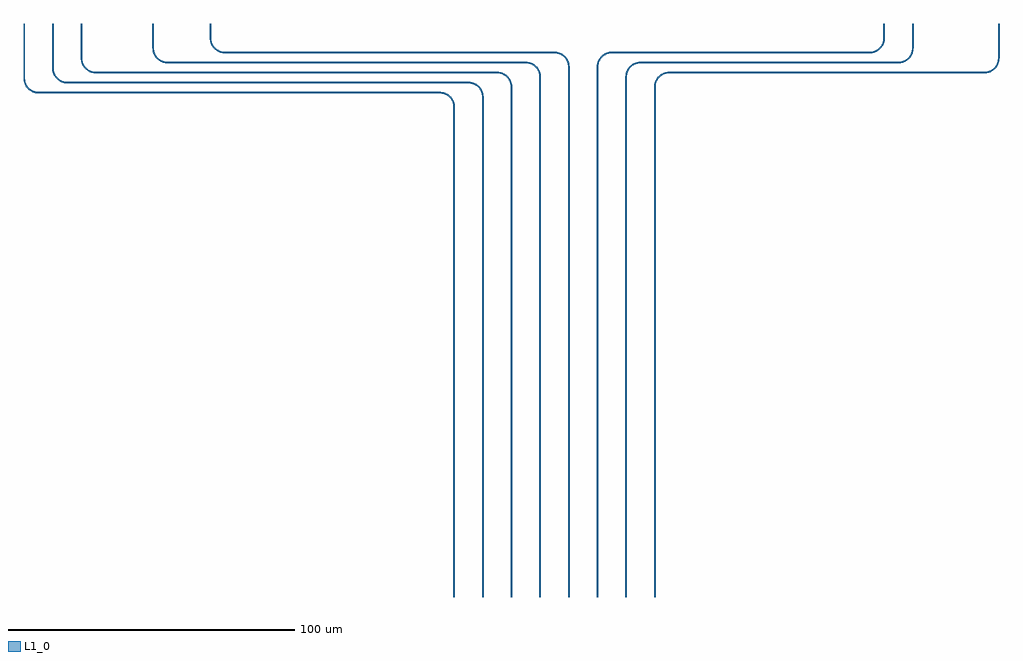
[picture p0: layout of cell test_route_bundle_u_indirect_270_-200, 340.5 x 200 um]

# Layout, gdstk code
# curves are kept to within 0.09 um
from math import pi, radians
import gdstk
lib = gdstk.Library(unit=1e-6, precision=1e-09)
def R(c, l, rs):  # rectangles x0, y0, x1, y1
    for r in rs: c.add(gdstk.rectangle(r[:2], r[2:], *l))
def P(c, l, *ps):  # polygons
    for p in ps: c.add(gdstk.Polygon(p, *l))
L1_0 = (1, 0)

bend_circular_gdsfactory = lib.new_cell('bend_circular_gdsfactorypcomponentspbendspbend_circular_0c9d0621')
P(bend_circular_gdsfactory, L1_0, [(0,-0.25),(0,0.25),(0.988,0.354),(1.932,0.661),(2.587,1.016),(3.359,1.641),(3.984,2.413),(4.339,3.068),(4.646,4.012),(4.75,5),(5.25,5),(5.135,3.908),(4.796,2.865),(4.247,1.914),(3.712,1.288),(3.086,0.753),(2.135,0.204),(1.092,-0.135)])

straight_gdsfactorypcomp = lib.new_cell('straight_gdsfactorypcomponentspwaveguidespstraight_L19__04b0d241')
R(straight_gdsfactorypcomp, L1_0, [(0,-0.25,19,0.25)])

c_straight_gdsfactorypcomp = lib.new_cell('straight_gdsfactorypcomponentspwaveguidespstraight_L140_d1a5e935')
R(c_straight_gdsfactorypcomp, L1_0, [(0,-0.25,140,0.25)])

c_straight_gdsfactorypcomp_ = lib.new_cell('straight_gdsfactorypcomponentspwaveguidespstraight_L171_7ff60cda')
R(c_straight_gdsfactorypcomp_, L1_0, [(0,-0.25,171,0.25)])

c_straight_gdsfactorypcomp__ = lib.new_cell('straight_gdsfactorypcomponentspwaveguidespstraight_L15p_a1f03c60')
R(c_straight_gdsfactorypcomp__, L1_0, [(0,-0.25,15.5,0.25)])

c_straight_gdsfactorypcomp___ = lib.new_cell('straight_gdsfactorypcomponentspwaveguidespstraight_L174_08ec315f')
R(c_straight_gdsfactorypcomp___, L1_0, [(0,-0.25,174.5,0.25)])

c_straight_gdsfactorypcomp____ = lib.new_cell('straight_gdsfactorypcomponentspwaveguidespstraight_L12__f3e780f9')
R(c_straight_gdsfactorypcomp____, L1_0, [(0,-0.25,12,0.25)])

c_straight_gdsfactorypcomp_____ = lib.new_cell('straight_gdsfactorypcomponentspwaveguidespstraight_L178_c123498b')
R(c_straight_gdsfactorypcomp_____, L1_0, [(0,-0.25,178,0.25)])

c_straight_gdsfactorypcomp______ = lib.new_cell('straight_gdsfactorypcomponentspwaveguidespstraight_L8p5_29adfe89')
R(c_straight_gdsfactorypcomp______, L1_0, [(0,-0.25,8.5,0.25)])

c_straight_gdsfactorypcomp_______ = lib.new_cell('straight_gdsfactorypcomponentspwaveguidespstraight_L125_ee2f1246')
R(c_straight_gdsfactorypcomp_______, L1_0, [(0,-0.25,125,0.25)])

c_straight_gdsfactorypcomp________ = lib.new_cell('straight_gdsfactorypcomponentspwaveguidespstraight_L181_3462eef6')
R(c_straight_gdsfactorypcomp________, L1_0, [(0,-0.25,181.5,0.25)])

c_straight_gdsfactorypcomp_________ = lib.new_cell('straight_gdsfactorypcomponentspwaveguidespstraight_L5_N_f5657628')
R(c_straight_gdsfactorypcomp_________, L1_0, [(0,-0.25,5,0.25)])

c_straight_gdsfactorypcomp__________ = lib.new_cell('straight_gdsfactorypcomponentspwaveguidespstraight_L115_c5585eed')
R(c_straight_gdsfactorypcomp__________, L1_0, [(0,-0.25,115,0.25)])

c_straight_gdsfactorypcomp___________ = lib.new_cell('straight_gdsfactorypcomponentspwaveguidespstraight_L185_0d204b83')
R(c_straight_gdsfactorypcomp___________, L1_0, [(0,-0.25,185,0.25)])

c_straight_gdsfactorypcomp____________ = lib.new_cell('straight_gdsfactorypcomponentspwaveguidespstraight_L90__0507d5f5')
R(c_straight_gdsfactorypcomp____________, L1_0, [(0,-0.25,90,0.25)])

c_straight_gdsfactorypcomp_____________ = lib.new_cell('straight_gdsfactorypcomponentspwaveguidespstraight_L110_85067713')
R(c_straight_gdsfactorypcomp_____________, L1_0, [(0,-0.25,110,0.25)])

test_route_bundle_u_indi = lib.new_cell('test_route_bundle_u_indirect_270_-200')
test_route_bundle_u_indi.add(gdstk.Reference(bend_circular_gdsfactory, (-95,-24), rotation=pi, x_reflection=True))
test_route_bundle_u_indi.add(gdstk.Reference(straight_gdsfactorypcomp, (-100,0), rotation=3*pi/2))
test_route_bundle_u_indi.add(gdstk.Reference(bend_circular_gdsfactory, (50,-29), rotation=pi/2))
test_route_bundle_u_indi.add(gdstk.Reference(c_straight_gdsfactorypcomp, (-95,-24)))
test_route_bundle_u_indi.add(gdstk.Reference(c_straight_gdsfactorypcomp_, (50,-29), rotation=3*pi/2))
test_route_bundle_u_indi.add(gdstk.Reference(bend_circular_gdsfactory, (-85,-20.5), rotation=pi, x_reflection=True))
test_route_bundle_u_indi.add(gdstk.Reference(c_straight_gdsfactorypcomp__, (-90,0), rotation=3*pi/2))
test_route_bundle_u_indi.add(gdstk.Reference(bend_circular_gdsfactory, (60,-25.5), rotation=pi/2))
test_route_bundle_u_indi.add(gdstk.Reference(c_straight_gdsfactorypcomp, (-85,-20.5)))
test_route_bundle_u_indi.add(gdstk.Reference(c_straight_gdsfactorypcomp___, (60,-25.5), rotation=3*pi/2))
test_route_bundle_u_indi.add(gdstk.Reference(bend_circular_gdsfactory, (-75,-17), rotation=pi, x_reflection=True))
test_route_bundle_u_indi.add(gdstk.Reference(c_straight_gdsfactorypcomp____, (-80,0), rotation=3*pi/2))
test_route_bundle_u_indi.add(gdstk.Reference(bend_circular_gdsfactory, (70,-22), rotation=pi/2))
test_route_bundle_u_indi.add(gdstk.Reference(c_straight_gdsfactorypcomp, (-75,-17)))
test_route_bundle_u_indi.add(gdstk.Reference(c_straight_gdsfactorypcomp_____, (70,-22), rotation=3*pi/2))
test_route_bundle_u_indi.add(gdstk.Reference(bend_circular_gdsfactory, (-50,-13.5), rotation=pi, x_reflection=True))
test_route_bundle_u_indi.add(gdstk.Reference(c_straight_gdsfactorypcomp______, (-55,0), rotation=3*pi/2))
test_route_bundle_u_indi.add(gdstk.Reference(bend_circular_gdsfactory, (80,-18.5), rotation=pi/2))
test_route_bundle_u_indi.add(gdstk.Reference(c_straight_gdsfactorypcomp_______, (-50,-13.5)))
test_route_bundle_u_indi.add(gdstk.Reference(c_straight_gdsfactorypcomp________, (80,-18.5), rotation=3*pi/2))
test_route_bundle_u_indi.add(gdstk.Reference(bend_circular_gdsfactory, (-30,-10), rotation=pi, x_reflection=True))
test_route_bundle_u_indi.add(gdstk.Reference(c_straight_gdsfactorypcomp_________, (-35,0), rotation=3*pi/2))
test_route_bundle_u_indi.add(gdstk.Reference(bend_circular_gdsfactory, (90,-15), rotation=pi/2))
test_route_bundle_u_indi.add(gdstk.Reference(c_straight_gdsfactorypcomp__________, (-30,-10)))
test_route_bundle_u_indi.add(gdstk.Reference(c_straight_gdsfactorypcomp___________, (90,-15), rotation=3*pi/2))
test_route_bundle_u_indi.add(gdstk.Reference(bend_circular_gdsfactory, (195,-10)))
test_route_bundle_u_indi.add(gdstk.Reference(c_straight_gdsfactorypcomp_________, (200,0), rotation=3*pi/2))
test_route_bundle_u_indi.add(gdstk.Reference(bend_circular_gdsfactory, (100,-15), rotation=pi/2, x_reflection=True))
test_route_bundle_u_indi.add(gdstk.Reference(c_straight_gdsfactorypcomp____________, (195,-10), rotation=pi))
test_route_bundle_u_indi.add(gdstk.Reference(c_straight_gdsfactorypcomp___________, (100,-15), rotation=3*pi/2))
test_route_bundle_u_indi.add(gdstk.Reference(bend_circular_gdsfactory, (205,-13.5)))
test_route_bundle_u_indi.add(gdstk.Reference(c_straight_gdsfactorypcomp______, (210,0), rotation=3*pi/2))
test_route_bundle_u_indi.add(gdstk.Reference(bend_circular_gdsfactory, (110,-18.5), rotation=pi/2, x_reflection=True))
test_route_bundle_u_indi.add(gdstk.Reference(c_straight_gdsfactorypcomp____________, (205,-13.5), rotation=pi))
test_route_bundle_u_indi.add(gdstk.Reference(c_straight_gdsfactorypcomp________, (110,-18.5), rotation=3*pi/2))
test_route_bundle_u_indi.add(gdstk.Reference(bend_circular_gdsfactory, (235,-17)))
test_route_bundle_u_indi.add(gdstk.Reference(c_straight_gdsfactorypcomp____, (240,0), rotation=3*pi/2))
test_route_bundle_u_indi.add(gdstk.Reference(bend_circular_gdsfactory, (120,-22), rotation=pi/2, x_reflection=True))
test_route_bundle_u_indi.add(gdstk.Reference(c_straight_gdsfactorypcomp_____________, (235,-17), rotation=pi))
test_route_bundle_u_indi.add(gdstk.Reference(c_straight_gdsfactorypcomp_____, (120,-22), rotation=3*pi/2))

lib.write_gds('test_route_bundle_u_indirect_270_-200.gds')
